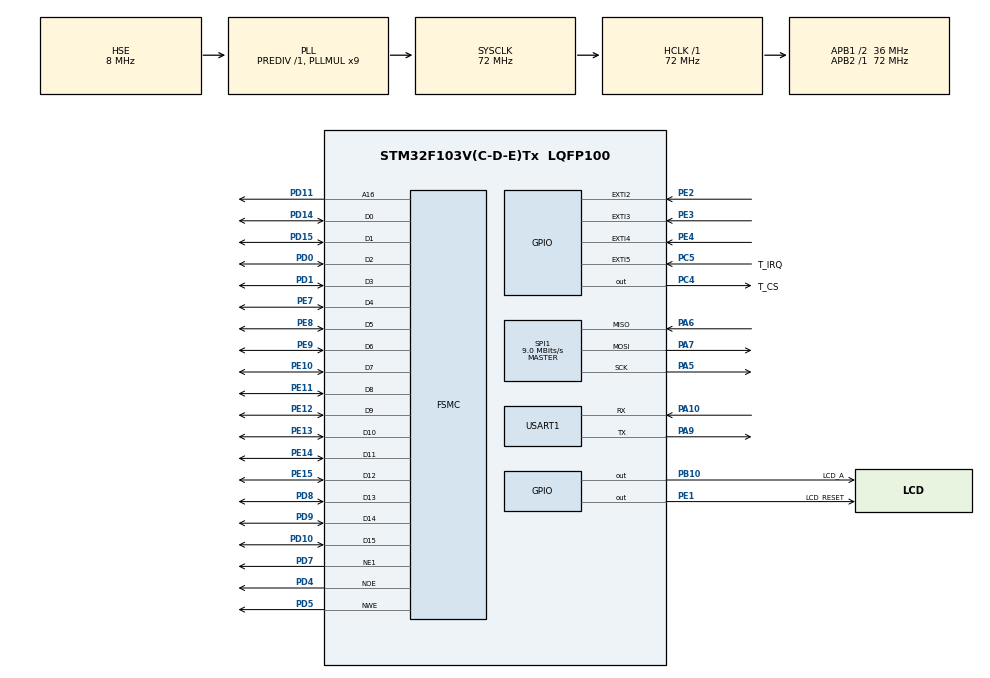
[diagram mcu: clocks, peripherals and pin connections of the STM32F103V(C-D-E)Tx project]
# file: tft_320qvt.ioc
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Mcu.Family=STM32F1
Mcu.Name=STM32F103V(C-D-E)Tx
Mcu.Package=LQFP100
NVIC.EXTI2_IRQn=true\:0\:0\:false
NVIC.EXTI3_IRQn=true\:0\:0\:false
NVIC.EXTI4_IRQn=true\:0\:0\:false
NVIC.EXTI9_5_IRQn=true\:0\:0\:false
NVIC.PriorityGroup=NVIC_PRIORITYGROUP_4
OSC_IN.Mode=HSE-External-Oscillator
OSC_IN.Signal=RCC_OSC_IN
OSC_OUT.Mode=HSE-External-Oscillator
OSC_OUT.Signal=RCC_OSC_OUT
PA10.Mode=Asynchronous
PA10.Signal=USART1_RX
PA13.Mode=Serial_Wire
PA13.Signal=SYS_JTMS-SWDIO
PA14.Mode=Serial_Wire
PA14.Signal=SYS_JTCK-SWCLK
PA5.Mode=Full_Duplex_Master
PA5.Signal=SPI1_SCK
PA6.Mode=Full_Duplex_Master
PA6.Signal=SPI1_MISO
PA7.Mode=Full_Duplex_Master
PA7.Signal=SPI1_MOSI
PA9.Mode=Asynchronous
PA9.Signal=USART1_TX
PB10.GPIO_Label=LCD_A
PB10.GPIO_ModeDefaultOutputPP=GPIO_MODE_OUTPUT_PP
PB10.GPIO_Speed=GPIO_SPEED_LOW
PB10.Signal=GPIO_Output
PC14-OSC32_IN.Mode=LSE-External-Oscillator
PC14-OSC32_IN.Signal=RCC_OSC32_IN
PC15-OSC32_OUT.Mode=LSE-External-Oscillator
PC15-OSC32_OUT.Signal=RCC_OSC32_OUT
PC4.GPIO_Label=T_CS
PC4.GPIO_ModeDefaultOutputPP=GPIO_MODE_OUTPUT_PP
PC4.GPIO_Speed=GPIO_SPEED_LOW
PC4.Signal=GPIO_Output
PC5.GPIO_Label=T_IRQ
PC5.GPIO_ModeDefaultEXTI=GPIO_MODE_IT_RISING_FALLING
PC5.GPIO_PuPd=GPIO_NOPULL
PC5.Signal=GPXTI5
PD0.Mode=16b-d1
PD0.Signal=FSMC_D2
PD1.Mode=16b-d1
PD1.Signal=FSMC_D3
PD10.Mode=16b-d1
PD10.Signal=FSMC_D15
PD11.Mode=A16_1
PD11.Signal=FSMC_A16
PD14.Mode=16b-d1
PD14.Signal=FSMC_D0
PD15.Mode=16b-d1
PD15.Signal=FSMC_D1
PD4.Mode=Lcd1
PD4.Signal=FSMC_NOE
PD5.Mode=Lcd1
PD5.Signal=FSMC_NWE
PD7.Mode=NorPsramChipSelect1_1
PD7.Signal=FSMC_NE1
PD8.Mode=16b-d1
PD8.Signal=FSMC_D13
PD9.Mode=16b-d1
PD9.Signal=FSMC_D14
PE1.GPIO_Label=LCD_RESET
PE1.GPIO_ModeDefaultOutputPP=GPIO_MODE_OUTPUT_PP
PE1.GPIO_Speed=GPIO_SPEED_LOW
PE1.Signal=GPIO_Output
PE10.Mode=16b-d1
PE10.Signal=FSMC_D7
PE11.Mode=16b-d1
PE11.Signal=FSMC_D8
PE12.Mode=16b-d1
PE12.Signal=FSMC_D9
PE13.Mode=16b-d1
PE13.Signal=FSMC_D10
PE14.Mode=16b-d1
PE14.Signal=FSMC_D11
PE15.Mode=16b-d1
PE15.Signal=FSMC_D12
PE2.Signal=GPXTI2
PE3.Signal=GPXTI3
PE4.Signal=GPXTI4
PE7.Mode=16b-d1
PE7.Signal=FSMC_D4
PE8.Mode=16b-d1
PE8.Signal=FSMC_D5
PE9.Mode=16b-d1
PE9.Signal=FSMC_D6
ProjectManager.TargetToolchain=SW4STM32
RCC.AHBFreq_Value=72000000
RCC.APB1CLKDivider=RCC_HCLK_DIV2
RCC.APB1Freq_Value=36000000
RCC.APB1TimFreq_Value=72000000
RCC.APB2Freq_Value=72000000
RCC.APB2TimFreq_Value=72000000
RCC.HCLKFreq_Value=72000000
RCC.HSIState=RCC_HSI_ON
RCC.PLLMUL=RCC_PLL_MUL9
RCC.PLLSourceVirtual=RCC_PLLSOURCE_HSE
RCC.SYSCLKFreq_VALUE=72000000
RCC.SYSCLKSource=RCC_SYSCLKSOURCE_PLLCLK
RCC.USBFreq_Value=48000000
RCC.USBPrescaler=RCC_USBPLLCLK_DIV1_5
SPI1.BaudRatePrescaler=SPI_BAUDRATEPRESCALER_8
SPI1.CalculateBaudRate=9.0 MBits/s
SPI1.Mode=SPI_MODE_MASTER
board=MB-STM32F103VET6

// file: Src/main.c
/**
  ******************************************************************************
  * File Name          : main.c
  * Description        : Main program body
  ******************************************************************************
  *
  * COPYRIGHT(c) 2015 STMicroelectronics
  *
  * Redistribution and use in source and binary forms, with or without modification,
  * are permitted provided that the following conditions are met:
  *   1. Redistributions of source code must retain the above copyright notice,
  *      this list of conditions and the following disclaimer.
  *   2. Redistributions in binary form must reproduce the above copyright notice,
  *      this list of conditions and the following disclaimer in the documentation
  *      and/or other materials provided with the distribution.
  *   3. Neither the name of STMicroelectronics nor the names of its contributors
  *      may be used to endorse or promote products derived from this software
  *      without specific prior written permission.
  *
  * THIS SOFTWARE IS PROVIDED BY THE COPYRIGHT HOLDERS AND CONTRIBUTORS "AS IS"
  * AND ANY EXPRESS OR IMPLIED WARRANTIES, INCLUDING, BUT NOT LIMITED TO, THE
  * IMPLIED WARRANTIES OF MERCHANTABILITY AND FITNESS FOR A PARTICULAR PURPOSE ARE
  * DISCLAIMED. IN NO EVENT SHALL THE COPYRIGHT HOLDER OR CONTRIBUTORS BE LIABLE
  * FOR ANY DIRECT, INDIRECT, INCIDENTAL, SPECIAL, EXEMPLARY, OR CONSEQUENTIAL
  * DAMAGES (INCLUDING, BUT NOT LIMITED TO, PROCUREMENT OF SUBSTITUTE GOODS OR
  * SERVICES; LOSS OF USE, DATA, OR PROFITS; OR BUSINESS INTERRUPTION) HOWEVER
  * CAUSED AND ON ANY THEORY OF LIABILITY, WHETHER IN CONTRACT, STRICT LIABILITY,
  * OR TORT (INCLUDING NEGLIGENCE OR OTHERWISE) ARISING IN ANY WAY OUT OF THE USE
  * OF THIS SOFTWARE, EVEN IF ADVISED OF THE POSSIBILITY OF SUCH DAMAGE.
  *
  ******************************************************************************
  */
#include "stm32f1xx_hal.h"

/* USER CODE BEGIN Includes */
#include <stdlib.h>
#include "lcd.h"
#include "lcd_font.h"
#include "tsc2046.h"
/* USER CODE END Includes */

SPI_HandleTypeDef hspi1;

UART_HandleTypeDef huart1;

SRAM_HandleTypeDef hsram1;

/* USER CODE BEGIN PV */
/* Private variables ---------------------------------------------------------*/

/* USER CODE END PV */

void SystemClock_Config(void);
static void MX_GPIO_Init(void);
static void MX_FSMC_Init(void);
static void MX_SPI1_Init(void);
static void MX_USART1_UART_Init(void);

/* USER CODE BEGIN PFP */
/* Private function prototypes -----------------------------------------------*/

/* USER CODE END PFP */

int main(void)
{

  /* MCU Configuration----------------------------------------------------------*/

  /* Reset of all peripherals, Initializes the Flash interface and the Systick. */
  HAL_Init();

  /* Configure the system clock */
  SystemClock_Config();

  /* Initialize all configured peripherals */
  MX_GPIO_Init();
  MX_FSMC_Init();
  MX_SPI1_Init();
  MX_USART1_UART_Init();

  /* USER CODE BEGIN 2 */
  LCD_Init(LCD_ORIENTATION_PORTRAIT);
  LCD_setFont(SmallFont);
  LCD_setBackColor(VGA_BLACK);
  LCD_fillScr(VGA_BLACK);

  TSC2046_Init();
  TSC2046_Calibration();
  LCD_fillScr(VGA_BLACK);
  /* USER CODE END 2 */

  /* Infinite loop */
  /* USER CODE BEGIN WHILE */
  char buf[100];
  int16_t xpos, ypos;

  while (1)
  {
  /* USER CODE END WHILE */

  /* USER CODE BEGIN 3 */
    LCD_setColor(VGA_BLUE);
    LCD_drawRect(0, 0, 10, 10);

    while(!Is_Touhcing());

    while (Is_Touhcing())
    {
      // read
      xpos = TSC2046_Get_Position_X();
      ypos = TSC2046_Get_Position_Y();

      // clear
      if (xpos > LCD_WIDTH - 20 && ypos > LCD_HEIGHT - 20)
      {
        LCD_fillScr(VGA_BLACK);
      }

      // print
      sprintf(buf, "(x,y)=(%04d, %04d)", xpos, ypos);
      LCD_setColor(VGA_RED);
      LCD_setBackColor(VGA_BLACK);
      LCD_print(buf, 20, 300, 0);

      // draw pen
      LCD_setColor(rand() | 0b0111101111101111);
      LCD_fillCircle(xpos, ypos, 3);

      // clear button
      LCD_setColor(VGA_WHITE);
      LCD_fillRect(LCD_WIDTH - 20, LCD_HEIGHT - 20, LCD_WIDTH - 1, LCD_HEIGHT - 1);

      // pen indicator
      LCD_setColor(VGA_GREEN);
      LCD_drawRect(0, 0, 10, 10);
    }

  }
  /* USER CODE END 3 */

}

/** System Clock Configuration
*/
void SystemClock_Config(void)
{

  RCC_OscInitTypeDef RCC_OscInitStruct;
  RCC_ClkInitTypeDef RCC_ClkInitStruct;

  RCC_OscInitStruct.OscillatorType = RCC_OSCILLATORTYPE_HSE;
  RCC_OscInitStruct.HSEState = RCC_HSE_ON;
  RCC_OscInitStruct.HSEPredivValue = RCC_HSE_PREDIV_DIV1;
  RCC_OscInitStruct.PLL.PLLState = RCC_PLL_ON;
  RCC_OscInitStruct.PLL.PLLSource = RCC_PLLSOURCE_HSE;
  RCC_OscInitStruct.PLL.PLLMUL = RCC_PLL_MUL9;
  HAL_RCC_OscConfig(&RCC_OscInitStruct);

  RCC_ClkInitStruct.ClockType = RCC_CLOCKTYPE_SYSCLK|RCC_CLOCKTYPE_PCLK1;
  RCC_ClkInitStruct.SYSCLKSource = RCC_SYSCLKSOURCE_PLLCLK;
  RCC_ClkInitStruct.AHBCLKDivider = RCC_SYSCLK_DIV1;
  RCC_ClkInitStruct.APB1CLKDivider = RCC_HCLK_DIV2;
  RCC_ClkInitStruct.APB2CLKDivider = RCC_HCLK_DIV1;
  HAL_RCC_ClockConfig(&RCC_ClkInitStruct, FLASH_LATENCY_2);

  HAL_SYSTICK_Config(HAL_RCC_GetHCLKFreq()/1000);

  HAL_SYSTICK_CLKSourceConfig(SYSTICK_CLKSOURCE_HCLK);

}

/* SPI1 init function */
void MX_SPI1_Init(void)
{

  hspi1.Instance = SPI1;
  hspi1.Init.Mode = SPI_MODE_MASTER;
  hspi1.Init.Direction = SPI_DIRECTION_2LINES;
  hspi1.Init.DataSize = SPI_DATASIZE_8BIT;
  hspi1.Init.CLKPolarity = SPI_POLARITY_LOW;
  hspi1.Init.CLKPhase = SPI_PHASE_1EDGE;
  hspi1.Init.NSS = SPI_NSS_SOFT;
  hspi1.Init.BaudRatePrescaler = SPI_BAUDRATEPRESCALER_8;
  hspi1.Init.FirstBit = SPI_FIRSTBIT_MSB;
  hspi1.Init.TIMode = SPI_TIMODE_DISABLED;
  hspi1.Init.CRCCalculation = SPI_CRCCALCULATION_DISABLED;
  hspi1.Init.CRCPolynomial = 10;
  HAL_SPI_Init(&hspi1);

}

/* USART1 init function */
void MX_USART1_UART_Init(void)
{

  huart1.Instance = USART1;
  huart1.Init.BaudRate = 115200;
  huart1.Init.WordLength = UART_WORDLENGTH_8B;
  huart1.Init.StopBits = UART_STOPBITS_1;
  huart1.Init.Parity = UART_PARITY_NONE;
  huart1.Init.Mode = UART_MODE_TX_RX;
  huart1.Init.HwFlowCtl = UART_HWCONTROL_NONE;
  huart1.Init.OverSampling = UART_OVERSAMPLING_16;
  HAL_UART_Init(&huart1);

}

/** Configure pins as
        * Analog
        * Input
        * Output
        * EVENT_OUT
        * EXTI
*/
void MX_GPIO_Init(void)
{

  GPIO_InitTypeDef GPIO_InitStruct;

  /* GPIO Ports Clock Enable */
  __GPIOE_CLK_ENABLE();
  __GPIOC_CLK_ENABLE();
  __GPIOA_CLK_ENABLE();
  __GPIOB_CLK_ENABLE();
  __GPIOD_CLK_ENABLE();

  /*Configure GPIO pins : PE2 PE3 PE4 */
  GPIO_InitStruct.Pin = GPIO_PIN_2|GPIO_PIN_3|GPIO_PIN_4;
  GPIO_InitStruct.Mode = GPIO_MODE_IT_RISING;
  GPIO_InitStruct.Pull = GPIO_NOPULL;
  HAL_GPIO_Init(GPIOE, &GPIO_InitStruct);

  /*Configure GPIO pin : PC4 */
  GPIO_InitStruct.Pin = GPIO_PIN_4;
  GPIO_InitStruct.Mode = GPIO_MODE_OUTPUT_PP;
  GPIO_InitStruct.Speed = GPIO_SPEED_LOW;
  HAL_GPIO_Init(GPIOC, &GPIO_InitStruct);

  /*Configure GPIO pin : PC5 */
  GPIO_InitStruct.Pin = GPIO_PIN_5;
  GPIO_InitStruct.Mode = GPIO_MODE_IT_RISING_FALLING;
  GPIO_InitStruct.Pull = GPIO_NOPULL;
  HAL_GPIO_Init(GPIOC, &GPIO_InitStruct);

  /*Configure GPIO pin : PB10 */
  GPIO_InitStruct.Pin = GPIO_PIN_10;
  GPIO_InitStruct.Mode = GPIO_MODE_OUTPUT_PP;
  GPIO_InitStruct.Speed = GPIO_SPEED_LOW;
  HAL_GPIO_Init(GPIOB, &GPIO_InitStruct);

  /*Configure GPIO pin : PE1 */
  GPIO_InitStruct.Pin = GPIO_PIN_1;
  GPIO_InitStruct.Mode = GPIO_MODE_OUTPUT_PP;
  GPIO_InitStruct.Speed = GPIO_SPEED_LOW;
  HAL_GPIO_Init(GPIOE, &GPIO_InitStruct);

  /* EXTI interrupt init*/
  HAL_NVIC_SetPriority(EXTI2_IRQn, 0, 0);
  HAL_NVIC_EnableIRQ(EXTI2_IRQn);

  HAL_NVIC_SetPriority(EXTI3_IRQn, 0, 0);
  HAL_NVIC_EnableIRQ(EXTI3_IRQn);

  HAL_NVIC_SetPriority(EXTI4_IRQn, 0, 0);
  HAL_NVIC_EnableIRQ(EXTI4_IRQn);

  HAL_NVIC_SetPriority(EXTI9_5_IRQn, 0, 0);
  HAL_NVIC_EnableIRQ(EXTI9_5_IRQn);

}

/* FSMC initialization function */
void MX_FSMC_Init(void)
{
  FSMC_NORSRAM_TimingTypeDef Timing;

  /** Perform the SRAM1 memory initialization sequence
  */
  hsram1.Instance = FSMC_NORSRAM_DEVICE;
  hsram1.Extended = FSMC_NORSRAM_EXTENDED_DEVICE;
  /* hsram1.Init */
  hsram1.Init.NSBank = FSMC_NORSRAM_BANK1;
  hsram1.Init.DataAddressMux = FSMC_DATA_ADDRESS_MUX_DISABLE;
  hsram1.Init.MemoryType = FSMC_MEMORY_TYPE_SRAM;
  hsram1.Init.MemoryDataWidth = FSMC_NORSRAM_MEM_BUS_WIDTH_16;
  hsram1.Init.BurstAccessMode = FSMC_BURST_ACCESS_MODE_DISABLE;
  hsram1.Init.WaitSignalPolarity = FSMC_WAIT_SIGNAL_POLARITY_LOW;
  hsram1.Init.WrapMode = FSMC_WRAP_MODE_DISABLE;
  hsram1.Init.WaitSignalActive = FSMC_WAIT_TIMING_BEFORE_WS;
  hsram1.Init.WriteOperation = FSMC_WRITE_OPERATION_ENABLE;
  hsram1.Init.WaitSignal = FSMC_WAIT_SIGNAL_DISABLE;
  hsram1.Init.ExtendedMode = FSMC_EXTENDED_MODE_DISABLE;
  hsram1.Init.AsynchronousWait = FSMC_ASYNCHRONOUS_WAIT_DISABLE;
  hsram1.Init.WriteBurst = FSMC_WRITE_BURST_DISABLE;
  /* Timing */
  Timing.AddressSetupTime = 15;
  Timing.AddressHoldTime = 15;
  Timing.DataSetupTime = 255;
  Timing.BusTurnAroundDuration = 15;
  Timing.CLKDivision = 16;
  Timing.DataLatency = 17;
  Timing.AccessMode = FSMC_ACCESS_MODE_A;
  /* ExtTiming */

  HAL_SRAM_Init(&hsram1, &Timing, NULL);

  /** Disconnect NADV
  */

  __HAL_AFIO_FSMCNADV_DISCONNECTED();

}

/************************ (C) COPYRIGHT STMicroelectronics *****END OF FILE****/
